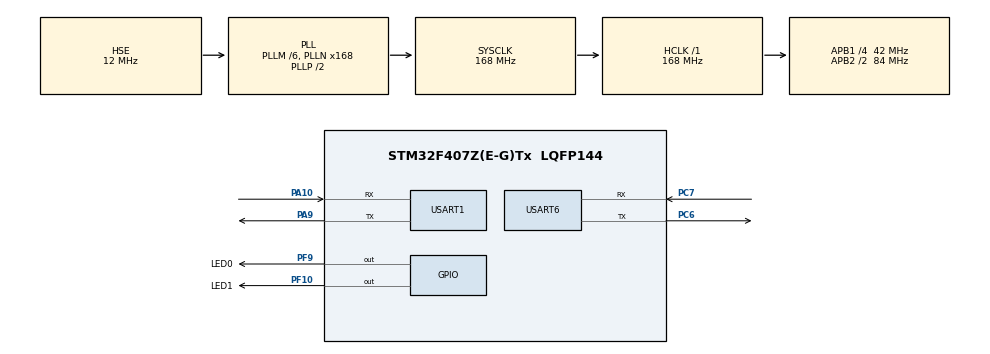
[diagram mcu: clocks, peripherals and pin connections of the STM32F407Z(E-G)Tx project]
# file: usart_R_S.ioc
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Mcu.Family=STM32F4
Mcu.Name=STM32F407Z(E-G)Tx
Mcu.Package=LQFP144
NVIC.PriorityGroup=NVIC_PRIORITYGROUP_4
NVIC.USART1_IRQn=true\:0\:0\:false\:false\:true\:true\:true
NVIC.USART6_IRQn=true\:0\:0\:false\:false\:true\:true\:true
PA10.Mode=Asynchronous
PA10.Signal=USART1_RX
PA9.Mode=Asynchronous
PA9.Signal=USART1_TX
PC6.Mode=Asynchronous
PC6.Signal=USART6_TX
PC7.Mode=Asynchronous
PC7.Signal=USART6_RX
PF10.GPIO_Label=LED1
PF10.Signal=GPIO_Output
PF9.GPIO_Label=LED0
PF9.Signal=GPIO_Output
PH0-OSC_IN.Mode=HSE-External-Oscillator
PH0-OSC_IN.Signal=RCC_OSC_IN
PH1-OSC_OUT.Mode=HSE-External-Oscillator
PH1-OSC_OUT.Signal=RCC_OSC_OUT
ProjectManager.HeapSize=0x200
ProjectManager.StackSize=0x400
ProjectManager.TargetToolchain=MDK-ARM V5.27
RCC.48MHZClocksFreq_Value=84000000
RCC.AHBFreq_Value=168000000
RCC.APB1CLKDivider=RCC_HCLK_DIV4
RCC.APB1Freq_Value=42000000
RCC.APB1TimFreq_Value=84000000
RCC.APB2CLKDivider=RCC_HCLK_DIV2
RCC.APB2Freq_Value=84000000
RCC.APB2TimFreq_Value=168000000
RCC.CortexFreq_Value=168000000
RCC.HCLKFreq_Value=168000000
RCC.HSE_VALUE=12000000
RCC.HSI_VALUE=16000000
RCC.LSE_VALUE=32768
RCC.PLLM=6
RCC.PLLN=168
RCC.PLLSourceVirtual=RCC_PLLSOURCE_HSE
RCC.SYSCLKFreq_VALUE=168000000
RCC.SYSCLKSource=RCC_SYSCLKSOURCE_PLLCLK
RCC.VCOOutputFreq_Value=336000000
USART1.VirtualMode=VM_ASYNC
USART6.VirtualMode=VM_ASYNC
board=custom

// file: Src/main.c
/* USER CODE BEGIN Header */
/**
  ******************************************************************************
  * @file           : main.c
  * @brief          : Main program body
  ******************************************************************************
  * @attention
  *
  * <h2><center>&copy; Copyright (c) 2021 STMicroelectronics.
  * All rights reserved.</center></h2>
  *
  * This software component is licensed by ST under BSD 3-Clause license,
  * the "License"; You may not use this file except in compliance with the
  * License. You may obtain a copy of the License at:
  *                        opensource.org/licenses/BSD-3-Clause
  *
  ******************************************************************************
  */
/* USER CODE END Header */

#include "main.h"
#include "usart.h"
#include "gpio.h"

void SystemClock_Config(void);

/* USER CODE BEGIN 0 */
void USART1_IRQHandler(void)
{
    volatile uint8_t receive;
    //receive interrupt �����ж�
    if(huart1.Instance->SR & UART_FLAG_RXNE)
    {
        receive = huart1.Instance->DR;
        HAL_GPIO_TogglePin(LED0_GPIO_Port, LED0_Pin);

    }
    //idle interrupt �����ж�
    else if(huart1.Instance->SR & UART_FLAG_IDLE)
    {
        receive = huart1.Instance->DR;
        HAL_GPIO_WritePin(LED0_GPIO_Port, LED0_Pin, GPIO_PIN_SET);
    }

}

void USART6_IRQHandler(void)
{

    volatile uint8_t receive;
    //receive interrupt �����ж�
    if(huart6.Instance->SR & UART_FLAG_RXNE)
    {
        receive = huart6.Instance->DR;
        HAL_GPIO_TogglePin(LED1_GPIO_Port, LED1_Pin);

    }
    //idle interrupt �����ж�
    else if(huart6.Instance->SR & UART_FLAG_IDLE)
    {
        receive = huart6.Instance->DR;
        HAL_GPIO_WritePin(LED1_GPIO_Port, LED1_Pin, GPIO_PIN_SET);
    }

}

/* USER CODE END 0 */

int main(void)
{

  /* MCU Configuration--------------------------------------------------------*/

  /* Reset of all peripherals, Initializes the Flash interface and the Systick. */
  HAL_Init();

  /* Configure the system clock */
  SystemClock_Config();

  /* Initialize all configured peripherals */
  MX_GPIO_Init();
  MX_USART1_UART_Init();
  MX_USART6_UART_Init();
  /* USER CODE BEGIN 2 */
	HAL_GPIO_WritePin(LED0_GPIO_Port, LED0_Pin, GPIO_PIN_SET);
  HAL_GPIO_WritePin(LED1_GPIO_Port, LED1_Pin, GPIO_PIN_SET);
  /* USER CODE END 2 */

  /* Infinite loop */
  /* USER CODE BEGIN WHILE */
  while (1)
  {
		HAL_UART_Transmit(&huart1, "RoboMaster\r\n", 12, 100);
    HAL_Delay(100);
    HAL_UART_Transmit(&huart6, "RoboMaster\r\n", 12, 100);
    HAL_Delay(100);
    /* USER CODE END WHILE */

  }
}

void SystemClock_Config(void)
{
  RCC_OscInitTypeDef RCC_OscInitStruct = {0};
  RCC_ClkInitTypeDef RCC_ClkInitStruct = {0};

  /** Configure the main internal regulator output voltage
  */
  __HAL_RCC_PWR_CLK_ENABLE();
  __HAL_PWR_VOLTAGESCALING_CONFIG(PWR_REGULATOR_VOLTAGE_SCALE1);
  /** Initializes the CPU, AHB and APB busses clocks
  */
  RCC_OscInitStruct.OscillatorType = RCC_OSCILLATORTYPE_HSE;
  RCC_OscInitStruct.HSEState = RCC_HSE_ON;
  RCC_OscInitStruct.PLL.PLLState = RCC_PLL_ON;
  RCC_OscInitStruct.PLL.PLLSource = RCC_PLLSOURCE_HSE;
  RCC_OscInitStruct.PLL.PLLM = 6;
  RCC_OscInitStruct.PLL.PLLN = 168;
  RCC_OscInitStruct.PLL.PLLP = RCC_PLLP_DIV2;
  RCC_OscInitStruct.PLL.PLLQ = 4;
  if (HAL_RCC_OscConfig(&RCC_OscInitStruct) != HAL_OK)
  {
    Error_Handler();
  }
  /** Initializes the CPU, AHB and APB busses clocks
  */
  RCC_ClkInitStruct.ClockType = RCC_CLOCKTYPE_HCLK|RCC_CLOCKTYPE_SYSCLK
                              |RCC_CLOCKTYPE_PCLK1|RCC_CLOCKTYPE_PCLK2;
  RCC_ClkInitStruct.SYSCLKSource = RCC_SYSCLKSOURCE_PLLCLK;
  RCC_ClkInitStruct.AHBCLKDivider = RCC_SYSCLK_DIV1;
  RCC_ClkInitStruct.APB1CLKDivider = RCC_HCLK_DIV4;
  RCC_ClkInitStruct.APB2CLKDivider = RCC_HCLK_DIV2;

  if (HAL_RCC_ClockConfig(&RCC_ClkInitStruct, FLASH_LATENCY_5) != HAL_OK)
  {
    Error_Handler();
  }
}

void Error_Handler(void)
{
}

/************************ (C) COPYRIGHT STMicroelectronics *****END OF FILE****/
